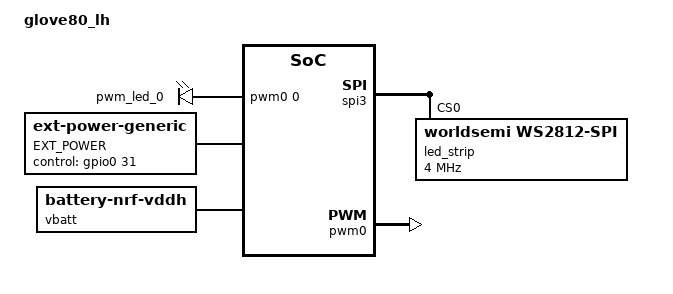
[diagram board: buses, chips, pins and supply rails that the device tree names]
/*
 * Copyright (c) 2021 The ZMK Contributors
 *
 * SPDX-License-Identifier: MIT
 */

#include "glove80.dtsi"
#include "glove80_lh-pinctrl.dtsi"

#include <dt-bindings/led/led.h>

/ {
    model = "glove80_lh";
    compatible = "glove80_lh";

    chosen {
        zmk,underglow = &led_strip;
        zmk,backlight = &back_led_backlight;
        zmk,battery   = &vbatt;
    };

    back_led_backlight: pwmleds {
        compatible = "pwm-leds";
        pwm_led_0 {
            pwms = <&pwm0 0 PWM_USEC(20) PWM_POLARITY_NORMAL>;
        };
    };

    // Node name must match original "EXT_POWER" label to preserve user settings.
    EXT_POWER {
        compatible = "zmk,ext-power-generic";
        control-gpios = <&gpio0 31 GPIO_ACTIVE_HIGH>; /* WS2812_CE */
        init-delay-ms = <100>;
    };

    vbatt: vbatt {
        compatible = "zmk,battery-nrf-vddh";
    };
};

&spi3 {
    compatible = "nordic,nrf-spim";
    status = "okay";

    pinctrl-0 = <&spi3_default>;
    pinctrl-1 = <&spi3_sleep>;
    pinctrl-names = "default", "sleep";

    led_strip: ws2812@0 {
        compatible = "worldsemi,ws2812-spi";

        /* SPI */
        reg = <0>; /* ignored, but necessary for SPI bindings */
        spi-max-frequency = <4000000>;

        /* WS2812 */
        chain-length = <40>; /* 40 keys have underglow at the moment */
        spi-one-frame = <0x70>;
        spi-zero-frame = <0x40>;

        color-mapping = <LED_COLOR_ID_GREEN LED_COLOR_ID_RED LED_COLOR_ID_BLUE>;
    };
};

&pwm0 {
    status = "okay";
    pinctrl-0 = <&pwm0_default>;
    pinctrl-1 = <&pwm0_sleep>;
    pinctrl-names = "default", "sleep";
};

&uart0 {
    compatible = "nordic,nrf-uarte";
    pinctrl-0 = <&uart0_default>;
    pinctrl-1 = <&uart0_sleep>;
    pinctrl-names = "default", "sleep";
};

&kscan0 {
    row-gpios
        = <&gpio0 26 (GPIO_ACTIVE_HIGH | GPIO_PULL_DOWN)> // LH ROW1
        , <&gpio0 5 (GPIO_ACTIVE_HIGH | GPIO_PULL_DOWN)> // LH ROW2
        , <&gpio0 6 (GPIO_ACTIVE_HIGH | GPIO_PULL_DOWN)> // LH ROW3
        , <&gpio0 8 (GPIO_ACTIVE_HIGH | GPIO_PULL_DOWN)> // LH ROW4
        , <&gpio0 7 (GPIO_ACTIVE_HIGH | GPIO_PULL_DOWN)> // LH ROW5
        , <&gpio1 9 (GPIO_ACTIVE_HIGH | GPIO_PULL_DOWN)> // LH ROW6
        ;
    col-gpios
        = <&gpio1 8 GPIO_ACTIVE_HIGH> // LH COL6
        , <&gpio1 4 GPIO_ACTIVE_HIGH> // LH COL5
        , <&gpio1 6 GPIO_ACTIVE_HIGH> // LH COL4
        , <&gpio1 7 GPIO_ACTIVE_HIGH> // LH COL3
        , <&gpio1 5 GPIO_ACTIVE_HIGH> // LH COL2
        , <&gpio1 3 GPIO_ACTIVE_HIGH> // LH COL1
        , <&gpio1 1 GPIO_ACTIVE_HIGH> // LH Thumb
        ;
};
